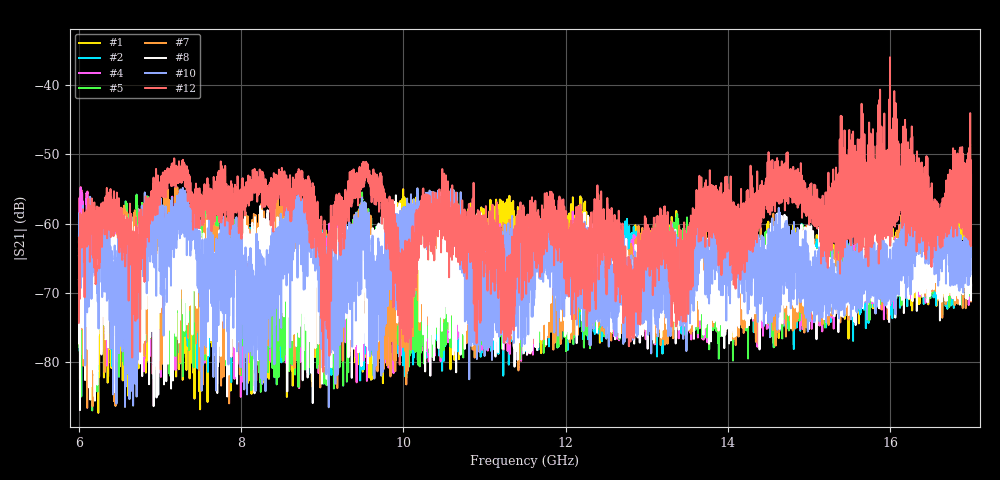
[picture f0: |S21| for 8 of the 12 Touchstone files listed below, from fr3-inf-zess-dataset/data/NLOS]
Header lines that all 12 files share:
#  HZ  S  RI  R  50.00
! Rohde & Schwarz Vector Network Analyzer
! Rohde-Schwarz,ZNA67-2Port,1332450062101215,3.01
! freq[Hz]  re:S11  im:S11  re:S21  im:S21  re:S12  im:S12  re:S22  im:S22
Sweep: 6 GHz to 17 GHz
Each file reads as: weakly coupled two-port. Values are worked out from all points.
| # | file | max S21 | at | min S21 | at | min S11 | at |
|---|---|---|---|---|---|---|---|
| 1 | pt10.s2p | -55.04 dB | 9.998 GHz | -87.3 dB | 6.239 GHz | -34.3 dB | 9.438 GHz |
| 2 | pt13.s2p | -57.21 dB | 6.906 GHz | -82.9 dB | 7.879 GHz | -15.2 dB | 13.29 GHz |
| 3 | pt14.s2p | -54.17 dB | 6.073 GHz | -86.8 dB | 6.04 GHz | -44.6 dB | 14.32 GHz |
| 4 | pt15.s2p | -54.75 dB | 6.022 GHz | -84.9 dB | 7.996 GHz | -37.8 dB | 16.62 GHz |
| 5 | pt16.s2p | -55.52 dB | 9.491 GHz | -86.9 dB | 6.164 GHz | -35.3 dB | 13.2 GHz |
| 6 | pt17.s2p | -55.14 dB | 6.902 GHz | -87.1 dB | 6.079 GHz | -26.5 dB | 12.26 GHz |
| 7 | pt18.s2p | -54.42 dB | 7.083 GHz | -86.6 dB | 6.102 GHz | -26.3 dB | 16.19 GHz |
| 8 | pt19.s2p | -55.93 dB | 9.908 GHz | -86.9 dB | 6.013 GHz | -36.6 dB | 13.87 GHz |
| 9 | pt20.s2p | -54.59 dB | 10.7 GHz | -89.1 dB | 6.127 GHz | -45.8 dB | 15.7 GHz |
| 10 | pt21.s2p | -54.19 dB | 6.992 GHz | -86.5 dB | 9.08 GHz | -31.9 dB | 12.26 GHz |
| 11 | pt22.s2p | -43.93 dB | 15.87 GHz | -81.6 dB | 9.442 GHz | -37.9 dB | 13.17 GHz |
| 12 | pt23.s2p | -36.05 dB | 16 GHz | -81.4 dB | 9.013 GHz | -42.2 dB | 13.19 GHz |
